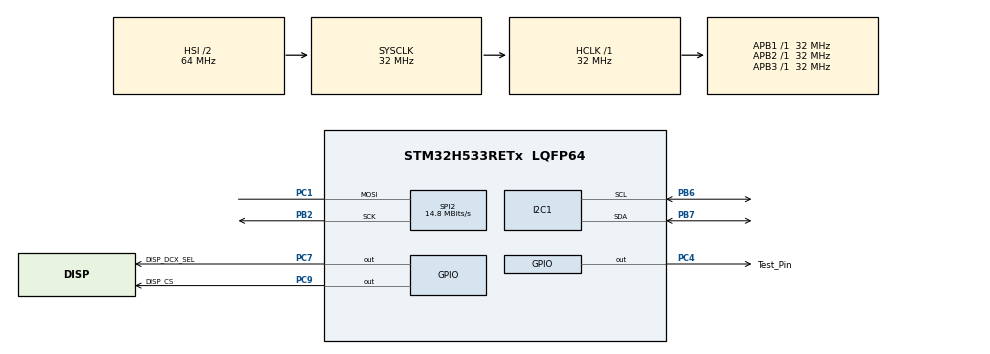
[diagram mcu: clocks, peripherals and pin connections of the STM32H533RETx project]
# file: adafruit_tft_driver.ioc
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BOOTPATH.BootPathName=LEGACY
BOOTPATH.UserSelectedBootPath=LEGACY
CORTEX_M33_NS.userName=CORTEX_M33
GPDMA1.DESTINC_GPDMACH5=DMA_DINC_INCREMENTED
GPDMA1.DIRECTION_GPDMACH6=DMA_MEMORY_TO_PERIPH
GPDMA1.DIRECTION_GPDMACH7=DMA_MEMORY_TO_PERIPH
GPDMA1.IPHANDLE_GPDMACH5-SIMPLEREQUEST_GPDMACH5=__NULL
GPDMA1.IPHANDLE_GPDMACH6-SIMPLEREQUEST_GPDMACH6=__NULL
GPDMA1.IPHANDLE_GPDMACH7-SIMPLEREQUEST_GPDMACH7=__NULL
GPDMA1.PRIORITY_GPDMACH7=DMA_LOW_PRIORITY_HIGH_WEIGHT
GPDMA1.REQUEST_GPDMACH5=GPDMA1_REQUEST_I2C1_RX
GPDMA1.REQUEST_GPDMACH6=GPDMA1_REQUEST_I2C1_TX
GPDMA1.REQUEST_GPDMACH7=GPDMA1_REQUEST_SPI2_TX
GPDMA1.SRCINC_GPDMACH6=DMA_SINC_INCREMENTED
GPDMA1.SRCINC_GPDMACH7=DMA_SINC_INCREMENTED
I2C1.Timing=0x00707CBB
Mcu.Family=STM32H5
Mcu.Name=STM32H533RETx
Mcu.Package=LQFP64
NUCLEO-H533RE.BUTTON=1
NUCLEO-H533RE.LD4=true
NUCLEO-H533RE.VCP=true
NVIC.EXTI13_IRQn=true\:0\:0\:false\:false\:true\:false\:true\:true
NVIC.GPDMA1_Channel5_IRQn=true\:0\:0\:false\:false\:true\:false\:true\:true
NVIC.GPDMA1_Channel6_IRQn=true\:0\:0\:false\:false\:true\:false\:true\:true
NVIC.GPDMA1_Channel7_IRQn=true\:0\:0\:false\:false\:true\:false\:true\:true
NVIC.I2C1_ER_IRQn=true\:0\:0\:false\:false\:true\:true\:true\:true
NVIC.I2C1_EV_IRQn=true\:0\:0\:false\:false\:true\:true\:true\:true
NVIC.PriorityGroup=NVIC_PRIORITYGROUP_4
NVIC.SPI2_IRQn=true\:0\:0\:false\:false\:true\:true\:true\:true
PA13(JTMS/SWDIO).GPIO_Label=SWDIO
PA13(JTMS/SWDIO).Signal=DEBUG_JTMS-SWDIO
PA14(JTCK/SWCLK).GPIO_Label=SWCLK
PA14(JTCK/SWCLK).Signal=DEBUG_JTCK-SWCLK
PA15(JTDI).GPIO_Label=JTDI
PA15(JTDI).Signal=DEBUG_JTDI
PA2.Signal=USART2_TX
PA3.Signal=USART2_RX
PB2.GPIO_Speed=GPIO_SPEED_FREQ_VERY_HIGH
PB2.Mode=Simplex_Bidirectional_Master
PB2.Signal=SPI2_SCK
PB3(JTDO/TRACESWO).GPIO_Label=SWO
PB3(JTDO/TRACESWO).Signal=DEBUG_JTDO-SWO
PB6.GPIO_Pu=GPIO_PULLUP
PB6.GPIO_Speed=GPIO_SPEED_FREQ_VERY_HIGH
PB6.Mode=I2C
PB6.Signal=I2C1_SCL
PB7.GPIO_Pu=GPIO_PULLUP
PB7.GPIO_Speed=GPIO_SPEED_FREQ_VERY_HIGH
PB7.Mode=I2C
PB7.Signal=I2C1_SDA
PC1.GPIO_Speed=GPIO_SPEED_FREQ_VERY_HIGH
PC1.Mode=Simplex_Bidirectional_Master
PC1.Signal=SPI2_MOSI
PC4.GPIO_Label=Test_Pin
PC4.GPIO_Speed=GPIO_SPEED_FREQ_VERY_HIGH
PC4.PinState=GPIO_PIN_RESET
PC4.Signal=GPIO_Output
PC7.GPIO_Label=DISP_DCX_SEL
PC7.GPIO_Speed=GPIO_SPEED_FREQ_VERY_HIGH
PC7.Signal=GPIO_Output
PC9.GPIO_Label=DISP_CS
PC9.GPIO_PuPd=GPIO_PULLUP
PC9.GPIO_Speed=GPIO_SPEED_FREQ_VERY_HIGH
PC9.PinState=GPIO_PIN_SET
PC9.Signal=GPIO_Output
ProjectManager.HeapSize=0x200
ProjectManager.StackSize=0x400
ProjectManager.TargetToolchain=CMake
RCC.ADCFreq_Value=32000000
RCC.AHBFreq_Value=32000000
RCC.APB1Freq_Value=32000000
RCC.APB1TimFreq_Value=32000000
RCC.APB2Freq_Value=32000000
RCC.APB2TimFreq_Value=32000000
RCC.APB3Freq_Value=32000000
RCC.CSI_VALUE=4000000
RCC.CortexFreq_Value=32000000
RCC.EPOD_VALUE=4000000
RCC.HCLKFreq_Value=32000000
RCC.HSE_VALUE=32000000
RCC.HSI48_VALUE=48000000
RCC.HSI_VALUE=64000000
RCC.LSE_VALUE=32768
RCC.LSIRC_VALUE=32000
RCC.PLL1Q=5
RCC.PLLFRACN=0
RCC.PLLN=37
RCC.SYSCLKFreq_VALUE=32000000
RCC.USBFreq_Value=48000000
RCC.VCOOutputFreq_Value=148000000
SPI2.BaudRatePrescaler=SPI_BAUDRATEPRESCALER_2
SPI2.CalculateBaudRate=14.8 MBits/s
SPI2.DataSize=SPI_DATASIZE_8BIT
SPI2.Direction=SPI_DIRECTION_1LINE
SPI2.Mode=SPI_MODE_MASTER
SPI2.NSSPMode=SPI_NSS_PULSE_ENABLE
SPI2.VirtualType=VM_MASTER
VP_BOOTPATH_VS_BOOTPATH.Mode=BP_Activate
VP_CORTEX_M33_NS_VS_Hclk.Mode=Hclk_Mode
VP_GPDMA1_VS_GPDMACH5.Mode=SIMPLEREQUEST_GPDMACH5
VP_GPDMA1_VS_GPDMACH6.Mode=SIMPLEREQUEST_GPDMACH6
VP_GPDMA1_VS_GPDMACH7.Mode=SIMPLEREQUEST_GPDMACH7
VP_ICACHE_VS_ICACHE.Mode=DirectMappedCache
VP_MEMORYMAP_VS_MEMORYMAP.Mode=CurAppReg
VP_NUCLEO-H533RE_VS_BSP_COMMON.Mode=COMMON
VP_PWR_VS_LPOM.Mode=PowerOptimisation
VP_PWR_VS_SECSignals.Mode=Security/Privilege
board=NUCLEO-H533RE

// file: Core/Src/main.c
/* USER CODE BEGIN Header */
/**
  ******************************************************************************
  * @file           : main.c
  * @brief          : Main program body
  ******************************************************************************
  * @attention
  *
  * Copyright (c) 2026 STMicroelectronics.
  * All rights reserved.
  *
  * This software is licensed under terms that can be found in the LICENSE file
  * in the root directory of this software component.
  * If no LICENSE file comes with this software, it is provided AS-IS.
  *
  ******************************************************************************
  */
/* USER CODE END Header */
#include "main.h"

/* USER CODE BEGIN Includes */
#include "dwt_module.h"
#include "Adafruit_TFTShield18_API.h"
#include "Adafruit_ST7735_API.h"

#include "Fonts/FreeSerifBoldItalic12pt7b.h"
#include "Fonts/FreeMono9pt7b.h"
/* USER CODE END Includes */

COM_InitTypeDef BspCOMInit;

I2C_HandleTypeDef hi2c1;
DMA_HandleTypeDef handle_GPDMA1_Channel6;
DMA_HandleTypeDef handle_GPDMA1_Channel5;

SPI_HandleTypeDef hspi2;
DMA_HandleTypeDef handle_GPDMA1_Channel7;

/* USER CODE BEGIN PV */

volatile bool spiTxDone = false;

extern uint8_t test_bits[];

/* USER CODE END PV */

void SystemClock_Config(void);
static void MX_GPIO_Init(void);
static void MX_GPDMA1_Init(void);
static void MX_ICACHE_Init(void);
static void MX_SPI2_Init(void);
static void MX_I2C1_Init(void);

/* USER CODE BEGIN 0 */

uint8_t i2c_buffer[1] = {1};

/* USER CODE END 0 */

int main(void)
{

  /* MCU Configuration--------------------------------------------------------*/

  /* Reset of all peripherals, Initializes the Flash interface and the Systick. */
  HAL_Init();

  /* Configure the system clock */
  SystemClock_Config();

  /* Initialize all configured peripherals */
  MX_GPIO_Init();
  MX_GPDMA1_Init();
  MX_ICACHE_Init();
  MX_SPI2_Init();
  MX_I2C1_Init();
  /* USER CODE BEGIN 2 */

  DWT_Init();

  /* USER CODE END 2 */

  /* Initialize leds */
  BSP_LED_Init(LED_GREEN);

  /* Initialize USER push-button, will be used to trigger an interrupt each time it's pressed.*/
  BSP_PB_Init(BUTTON_USER, BUTTON_MODE_EXTI);

  /* Initialize COM1 port (115200, 8 bits (7-bit data + 1 stop bit), no parity */
  BspCOMInit.BaudRate   = 115200;
  BspCOMInit.WordLength = COM_WORDLENGTH_8B;
  BspCOMInit.StopBits   = COM_STOPBITS_1;
  BspCOMInit.Parity     = COM_PARITY_NONE;
  BspCOMInit.HwFlowCtl  = COM_HWCONTROL_NONE;
  if (BSP_COM_Init(COM1, &BspCOMInit) != BSP_ERROR_NONE)
  {
    Error_Handler();
  }

  /* Infinite loop */
  /* USER CODE BEGIN WHILE */

  printf("HCLK Frequency: %u Hz\n\r", HAL_RCC_GetHCLKFreq());

  if(!DWT_CheckInitialized()) printf("DWT failed to initialize!\n\r");

  TFTShield18_create(&hi2c1);
  if (!TFTShield18_begin())
  {
    printf("Failed to initialize TFT shield!\n\r");
    return 1;
  } else {
    printf("TFT shield initialized successfully!\n\r");
  }

  TFTShield18_tftReset(true);

  DWT_delayMs(100);

  Display_create(&hspi2, DISP_CS_Pin, DISP_CS_GPIO_Port, DISP_DCX_SEL_Pin, DISP_DCX_SEL_GPIO_Port, &spiTxDone);

  Display_init(INITR_BLACKTAB);

  DWT_delayMs(100);

  Display_setRotation(1);

  Display_fillScreen(ST77XX_GREEN);

  TFTShield18_setBacklight(TFTSHIELD_BACKLIGHT_OFF);

  for (int32_t i=TFTSHIELD_BACKLIGHT_OFF; i<TFTSHIELD_BACKLIGHT_ON; i+=100) {
    TFTShield18_setBacklight(i);
    HAL_Delay(1);
  }

  HAL_Delay(1000);

  Display_fillScreen(ST77XX_BLUE);
  DWT_delayMs(100);
  Display_fillScreen(ST77XX_CYAN);
  DWT_delayMs(100);
  Display_fillScreen(ST77XX_RED);
  DWT_delayMs(100);
  Display_fillScreen(ST77XX_YELLOW);
  DWT_delayMs(100);
  Display_fillScreen(ST77XX_WHITE);
  DWT_delayMs(100);

  Display_fillCircle(Display_width()/2, Display_height()/2, 35, ST77XX_MAGENTA);
  Display_drawCircle(Display_width()/2, Display_height()/2, 35, ST77XX_BLACK);
  Display_fillRoundRect((Display_width()/2) - 20, (Display_height()/2) - 20, 40, 40, 4, ST77XX_CYAN);

  Display_setTextColor(ST77XX_BLACK);
  Display_setTextSize(1, 1);
  Display_setCursor(10, 10);
  Display_setFont(&FreeSerifBoldItalic12pt7b);
  Display_print("Hello, World!");

  DWT_delayMs(1000);

  Display_fillScreen(ST77XX_BLACK);

  for(int i = 0; i <= Display_height(); i += 4) {
    Display_drawLine(0, i, Display_width(), 0, ST7735_YELLOW);
  }

  for(int i = 0; i <= Display_width(); i += 5) {
    Display_drawLine(i, Display_height(), Display_width(), 0, ST77XX_YELLOW);
  }

  DWT_delayMs(2000);

  Display_fillScreen(ST77XX_WHITE);

  Display_drawXBitmapBg(0, 0, test_bits, 160, 128, ST77XX_BLACK, ST77XX_YELLOW);

  uint32_t lastButtonState = TFTSHIELD_BUTTON_ALL;
  bool inverted = false;

  while (1)
  {

    uint32_t buttons = TFTShield18_readButtons();

    if(lastButtonState != buttons) {
      if(!(buttons & TFTSHIELD_BUTTON_1)) {
        printf("Button 1\n\r");
        inverted = !inverted;
        Display_invertDisplay(inverted);
      }
      if(!(buttons & TFTSHIELD_BUTTON_2)) printf("Button 2\n\r");
      if(!(buttons & TFTSHIELD_BUTTON_3)) printf("Button 3\n\r");
      if(!(buttons & TFTSHIELD_BUTTON_DOWN)) printf("Button DOWN\n\r");
      if(!(buttons & TFTSHIELD_BUTTON_UP)) printf("Button UP\n\r");
      if(!(buttons & TFTSHIELD_BUTTON_LEFT)) printf("Button LEFT\n\r");
      if(!(buttons & TFTSHIELD_BUTTON_RIGHT)) printf("Button RIGHT\n\r");
      if(!(buttons & TFTSHIELD_BUTTON_IN)) printf("Button SELECT\n\r");
    }

    // Display_fillScreen(ST77XX_GREEN);

    lastButtonState = buttons;
    DWT_delayMs(100);

    /* USER CODE END WHILE */

  }
}

void SystemClock_Config(void)
{
  RCC_OscInitTypeDef RCC_OscInitStruct = {0};
  RCC_ClkInitTypeDef RCC_ClkInitStruct = {0};

  /** Configure the main internal regulator output voltage
  */
  __HAL_PWR_VOLTAGESCALING_CONFIG(PWR_REGULATOR_VOLTAGE_SCALE3);

  while(!__HAL_PWR_GET_FLAG(PWR_FLAG_VOSRDY)) {}

  /** Initializes the RCC Oscillators according to the specified parameters
  * in the RCC_OscInitTypeDef structure.
  */
  RCC_OscInitStruct.OscillatorType = RCC_OSCILLATORTYPE_HSI|RCC_OSCILLATORTYPE_CSI;
  RCC_OscInitStruct.HSIState = RCC_HSI_ON;
  RCC_OscInitStruct.HSIDiv = RCC_HSI_DIV2;
  RCC_OscInitStruct.HSICalibrationValue = RCC_HSICALIBRATION_DEFAULT;
  RCC_OscInitStruct.CSIState = RCC_CSI_ON;
  RCC_OscInitStruct.CSICalibrationValue = RCC_CSICALIBRATION_DEFAULT;
  RCC_OscInitStruct.PLL.PLLState = RCC_PLL_ON;
  RCC_OscInitStruct.PLL.PLLSource = RCC_PLL1_SOURCE_CSI;
  RCC_OscInitStruct.PLL.PLLM = 1;
  RCC_OscInitStruct.PLL.PLLN = 37;
  RCC_OscInitStruct.PLL.PLLP = 2;
  RCC_OscInitStruct.PLL.PLLQ = 5;
  RCC_OscInitStruct.PLL.PLLR = 2;
  RCC_OscInitStruct.PLL.PLLRGE = RCC_PLL1_VCIRANGE_2;
  RCC_OscInitStruct.PLL.PLLVCOSEL = RCC_PLL1_VCORANGE_WIDE;
  RCC_OscInitStruct.PLL.PLLFRACN = 0;
  if (HAL_RCC_OscConfig(&RCC_OscInitStruct) != HAL_OK)
  {
    Error_Handler();
  }

  /** Initializes the CPU, AHB and APB buses clocks
  */
  RCC_ClkInitStruct.ClockType = RCC_CLOCKTYPE_HCLK|RCC_CLOCKTYPE_SYSCLK
                              |RCC_CLOCKTYPE_PCLK1|RCC_CLOCKTYPE_PCLK2
                              |RCC_CLOCKTYPE_PCLK3;
  RCC_ClkInitStruct.SYSCLKSource = RCC_SYSCLKSOURCE_HSI;
  RCC_ClkInitStruct.AHBCLKDivider = RCC_SYSCLK_DIV1;
  RCC_ClkInitStruct.APB1CLKDivider = RCC_HCLK_DIV1;
  RCC_ClkInitStruct.APB2CLKDivider = RCC_HCLK_DIV1;
  RCC_ClkInitStruct.APB3CLKDivider = RCC_HCLK_DIV1;

  if (HAL_RCC_ClockConfig(&RCC_ClkInitStruct, FLASH_LATENCY_1) != HAL_OK)
  {
    Error_Handler();
  }

  /** Configure the programming delay
  */
  __HAL_FLASH_SET_PROGRAM_DELAY(FLASH_PROGRAMMING_DELAY_0);
}

static void MX_GPDMA1_Init(void)
{

  /* Peripheral clock enable */
  __HAL_RCC_GPDMA1_CLK_ENABLE();

  /* GPDMA1 interrupt Init */
    HAL_NVIC_SetPriority(GPDMA1_Channel5_IRQn, 0, 0);
    HAL_NVIC_EnableIRQ(GPDMA1_Channel5_IRQn);
    HAL_NVIC_SetPriority(GPDMA1_Channel6_IRQn, 0, 0);
    HAL_NVIC_EnableIRQ(GPDMA1_Channel6_IRQn);
    HAL_NVIC_SetPriority(GPDMA1_Channel7_IRQn, 0, 0);
    HAL_NVIC_EnableIRQ(GPDMA1_Channel7_IRQn);

}

static void MX_I2C1_Init(void)
{

  hi2c1.Instance = I2C1;
  hi2c1.Init.Timing = 0x00707CBB;
  hi2c1.Init.OwnAddress1 = 0;
  hi2c1.Init.AddressingMode = I2C_ADDRESSINGMODE_7BIT;
  hi2c1.Init.DualAddressMode = I2C_DUALADDRESS_DISABLE;
  hi2c1.Init.OwnAddress2 = 0;
  hi2c1.Init.OwnAddress2Masks = I2C_OA2_NOMASK;
  hi2c1.Init.GeneralCallMode = I2C_GENERALCALL_DISABLE;
  hi2c1.Init.NoStretchMode = I2C_NOSTRETCH_DISABLE;
  if (HAL_I2C_Init(&hi2c1) != HAL_OK)
  {
    Error_Handler();
  }

  /** Configure Analogue filter
  */
  if (HAL_I2CEx_ConfigAnalogFilter(&hi2c1, I2C_ANALOGFILTER_ENABLE) != HAL_OK)
  {
    Error_Handler();
  }

  /** Configure Digital filter
  */
  if (HAL_I2CEx_ConfigDigitalFilter(&hi2c1, 0) != HAL_OK)
  {
    Error_Handler();
  }

}

static void MX_ICACHE_Init(void)
{

  /** Enable instruction cache in 1-way (direct mapped cache)
  */
  if (HAL_ICACHE_ConfigAssociativityMode(ICACHE_1WAY) != HAL_OK)
  {
    Error_Handler();
  }
  if (HAL_ICACHE_Enable() != HAL_OK)
  {
    Error_Handler();
  }

}

static void MX_SPI2_Init(void)
{

  /* SPI2 parameter configuration*/
  hspi2.Instance = SPI2;
  hspi2.Init.Mode = SPI_MODE_MASTER;
  hspi2.Init.Direction = SPI_DIRECTION_1LINE;
  hspi2.Init.DataSize = SPI_DATASIZE_8BIT;
  hspi2.Init.CLKPolarity = SPI_POLARITY_LOW;
  hspi2.Init.CLKPhase = SPI_PHASE_1EDGE;
  hspi2.Init.NSS = SPI_NSS_SOFT;
  hspi2.Init.BaudRatePrescaler = SPI_BAUDRATEPRESCALER_2;
  hspi2.Init.FirstBit = SPI_FIRSTBIT_MSB;
  hspi2.Init.TIMode = SPI_TIMODE_DISABLE;
  hspi2.Init.CRCCalculation = SPI_CRCCALCULATION_DISABLE;
  hspi2.Init.CRCPolynomial = 0x7;
  hspi2.Init.NSSPMode = SPI_NSS_PULSE_ENABLE;
  hspi2.Init.NSSPolarity = SPI_NSS_POLARITY_LOW;
  hspi2.Init.FifoThreshold = SPI_FIFO_THRESHOLD_01DATA;
  hspi2.Init.MasterSSIdleness = SPI_MASTER_SS_IDLENESS_00CYCLE;
  hspi2.Init.MasterInterDataIdleness = SPI_MASTER_INTERDATA_IDLENESS_00CYCLE;
  hspi2.Init.MasterReceiverAutoSusp = SPI_MASTER_RX_AUTOSUSP_DISABLE;
  hspi2.Init.MasterKeepIOState = SPI_MASTER_KEEP_IO_STATE_DISABLE;
  hspi2.Init.IOSwap = SPI_IO_SWAP_DISABLE;
  hspi2.Init.ReadyMasterManagement = SPI_RDY_MASTER_MANAGEMENT_INTERNALLY;
  hspi2.Init.ReadyPolarity = SPI_RDY_POLARITY_HIGH;
  if (HAL_SPI_Init(&hspi2) != HAL_OK)
  {
    Error_Handler();
  }

}

static void MX_GPIO_Init(void)
{
  GPIO_InitTypeDef GPIO_InitStruct = {0};

  /* GPIO Ports Clock Enable */
  __HAL_RCC_GPIOC_CLK_ENABLE();
  __HAL_RCC_GPIOB_CLK_ENABLE();
  __HAL_RCC_GPIOA_CLK_ENABLE();

  /*Configure GPIO pin Output Level */
  HAL_GPIO_WritePin(GPIOC, Test_Pin_Pin|DISP_DCX_SEL_Pin, GPIO_PIN_RESET);

  /*Configure GPIO pin Output Level */
  HAL_GPIO_WritePin(DISP_CS_GPIO_Port, DISP_CS_Pin, GPIO_PIN_SET);

  /*Configure GPIO pins : Test_Pin_Pin DISP_DCX_SEL_Pin */
  GPIO_InitStruct.Pin = Test_Pin_Pin|DISP_DCX_SEL_Pin;
  GPIO_InitStruct.Mode = GPIO_MODE_OUTPUT_PP;
  GPIO_InitStruct.Pull = GPIO_NOPULL;
  GPIO_InitStruct.Speed = GPIO_SPEED_FREQ_VERY_HIGH;
  HAL_GPIO_Init(GPIOC, &GPIO_InitStruct);

  /*Configure GPIO pin : DISP_CS_Pin */
  GPIO_InitStruct.Pin = DISP_CS_Pin;
  GPIO_InitStruct.Mode = GPIO_MODE_OUTPUT_PP;
  GPIO_InitStruct.Pull = GPIO_PULLUP;
  GPIO_InitStruct.Speed = GPIO_SPEED_FREQ_VERY_HIGH;
  HAL_GPIO_Init(DISP_CS_GPIO_Port, &GPIO_InitStruct);

}

void Error_Handler(void)
{
  __disable_irq();
  while (1)
  {
  }
}
